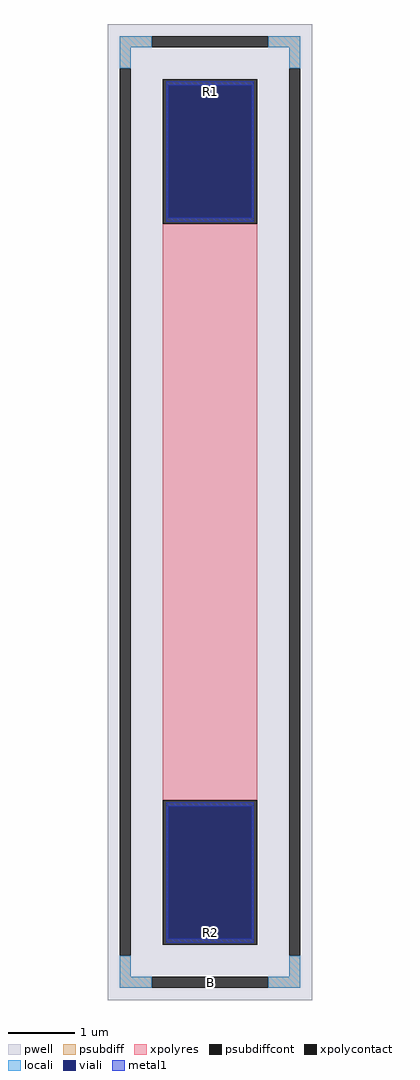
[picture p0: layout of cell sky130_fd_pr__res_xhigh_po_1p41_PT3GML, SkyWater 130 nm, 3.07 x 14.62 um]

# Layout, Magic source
magic
tech sky130A
magscale 1 2
<< pwell >>
rect -307 -1462 307 1462
<< psubdiff >>
rect -271 1392 -175 1426
rect 175 1392 271 1426
rect -271 1330 -237 1392
rect 237 1330 271 1392
rect -271 -1392 -237 -1330
rect 237 -1392 271 -1330
rect -271 -1426 -175 -1392
rect 175 -1426 271 -1392
<< psubdiffcont >>
rect -175 1392 175 1426
rect -271 -1330 -237 1330
rect 237 -1330 271 1330
rect -175 -1426 175 -1392
<< xpolycontact >>
rect -141 864 141 1296
rect -141 -1296 141 -864
<< xpolyres >>
rect -141 -864 141 864
<< locali >>
rect -271 1392 -175 1426
rect 175 1392 271 1426
rect -271 1330 -237 1392
rect 237 1330 271 1392
rect -271 -1392 -237 -1330
rect 237 -1392 271 -1330
rect -271 -1426 -175 -1392
rect 175 -1426 271 -1392
<< viali >>
rect -125 881 125 1278
rect -125 -1278 125 -881
<< metal1 >>
rect -131 1278 131 1290
rect -131 881 -125 1278
rect 125 881 131 1278
rect -131 869 131 881
rect -131 -881 131 -869
rect -131 -1278 -125 -881
rect 125 -1278 131 -881
rect -131 -1290 131 -1278
<< labels >>
rlabel psubdiffcont 0 -1409 0 -1409 0 B
port 1 nsew
rlabel xpolycontact 0 1261 0 1261 0 R1
port 2 nsew
rlabel xpolycontact 0 -1261 0 -1261 0 R2
port 3 nsew
<< properties >>
string FIXED_BBOX -254 -1409 254 1409
string gencell sky130_fd_pr__res_xhigh_po_1p41
string library sky130
string parameters w 1.410 l 8.8 m 1 nx 1 wmin 1.410 lmin 0.50 class resistor rho 2000 val 12.749k dummy 0 dw 0.0 term 188.2 sterm 0.0 caplen 0 wmax 1.410 guard 1 glc 1 grc 1 gtc 1 gbc 1 compatible {sky130_fd_pr__res_xhigh_po_0p35  sky130_fd_pr__res_xhigh_po_0p69 sky130_fd_pr__res_xhigh_po_1p41  sky130_fd_pr__res_xhigh_po_2p85 sky130_fd_pr__res_xhigh_po_5p73} snake 0 full_metal 1 n_guard 0 hv_guard 0 vias 1 viagb 0 viagt 0 viagl 0 viagr 0 doports 1
<< end >>
